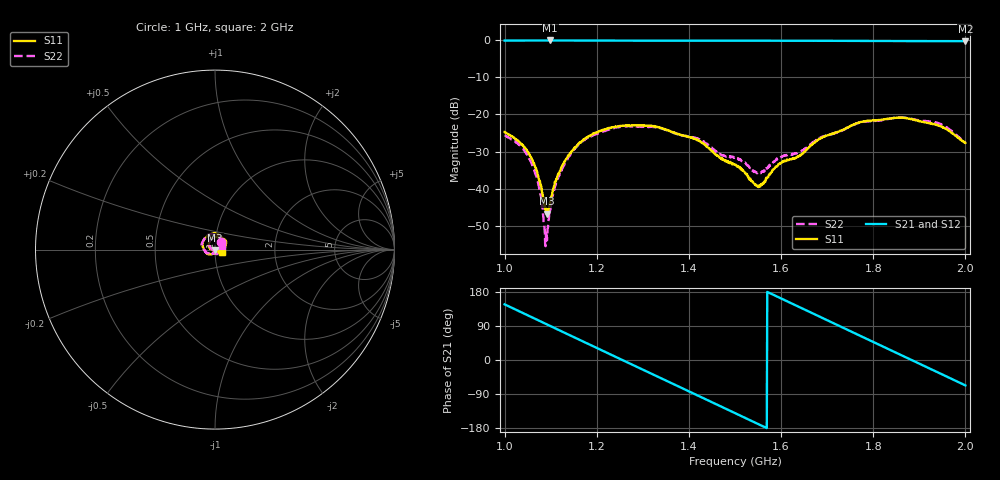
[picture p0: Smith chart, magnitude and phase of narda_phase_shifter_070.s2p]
#  HZ  S  DB  R  50.00
! Rohde & Schwarz Vector Network Analyzer
! Rohde-Schwarz,ZNB8-4Port,1311601044102961,2.82
! Created: UTC 3/4/2022, 4:05:36 PM
! freq[Hz]  db:S11  ang:S11  db:S21  ang:S21  db:S12  ang:S12  db:S22  ang:S22
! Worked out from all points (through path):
!   1001 points, 1 GHz to 2 GHz, reference 50 ohm
!   highest |S21| = -0.14 dB at 1.099 GHz (marker M1); lowest = -0.3 dB at 2 GHz (marker M2)
!   group delay of S21, straight-line fit = 1.59 ns
!   lowest |S11| = -46.7 dB at 1.091 GHz (marker M3), VSWR 1.01, Z = 50 - j0.463 ohm
!   |S11| at or under -10 dB: start of sweep to end of sweep
!   |S22| runs from -55.4 to -20.8 dB; largest |S21 - S12| = 0.003
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1e9  -24.73 50.7  -0.18 146.8  -0.16 146.8  -25.61 53.0
1.057e9  -31.48 8.2  -0.16 114.0  -0.15 114.1  -32.64 23.1
1.074e9  -37.28 -13.8  -0.15 104.2  -0.15 104.3  -39.23 10.7
1.087e9  -44.14 -54.1  -0.15 96.8  -0.14 96.8  -50.93 -32.2
1.091e9  -46.67 -87.2  -0.15 94.4  -0.14 94.4  -52.04 -98.1
1.099e9  -43.69 -137.9  -0.14 89.8  -0.14 89.9  -45.78 -155.2
1.107e9  -39.34 -163.7  -0.15 85.2  -0.14 85.2  -40.14 -167.1
1.122e9  -34.62 -179.2  -0.15 76.6  -0.14 76.6  -35.17 173.4
1.167e9  -27.24 143.0  -0.18 50.7  -0.17 50.7  -27.33 142.4
1.251e9  -23.10 92.9  -0.20 2.6  -0.19 2.6  -23.27 90.5
1.292e9  -23.01 65.3  -0.20 -20.9  -0.19 -20.9  -23.26 68.0
1.334e9  -23.46 42.4  -0.21 -44.9  -0.20 -44.9  -23.57 42.1
1.376e9  -25.25 14.4  -0.20 -69.0  -0.19 -69.0  -25.33 17.5
1.417e9  -26.68 -5.2  -0.20 -92.4  -0.20 -92.5  -26.43 -11.9
1.5e9  -33.43 -48.8  -0.20 -140.1  -0.20 -140.1  -31.67 -70.1
1.553e9  -39.23 -73.2  -0.21 -170.6  -0.20 -170.6  -35.68 -103.8
1.607e9  -32.42 -102.8  -0.22 158.4  -0.20 158.4  -30.95 -121.6
1.667e9  -28.17 -137.1  -0.23 124.0  -0.22 124.0  -27.73 -150.5
1.747e9  -23.37 169.2  -0.26 78.0  -0.25 78.1  -23.42 172.4
1.834e9  -21.10 112.0  -0.29 28.2  -0.29 28.2  -21.16 126.5
1.912e9  -22.12 61.1  -0.31 -16.5  -0.31 -16.5  -21.76 82.6
2e9  -27.62 -19.0  -0.34 -67.1  -0.33 -67.1  -27.61 28.4
